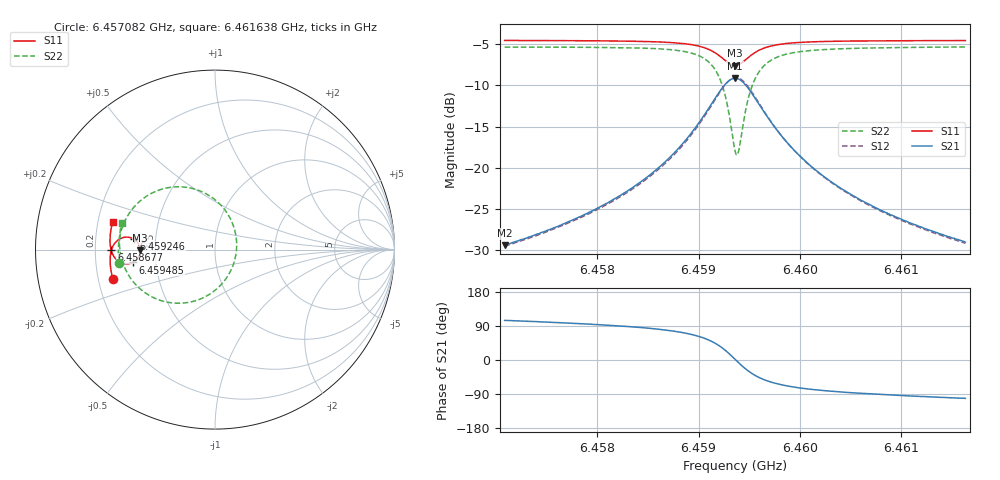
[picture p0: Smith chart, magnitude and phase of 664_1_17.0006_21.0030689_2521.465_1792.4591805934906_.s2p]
#  HZ  S  RI  R  50.00
! Rohde & Schwarz Vector Network Analyzer
! Rohde-Schwarz,ZNB20-2Port,1311601062101988,3.16
! Created: UTC 3/20/2024, 11:21:52 PM
! freq[Hz]  re:S11  im:S11  re:S21  im:S21  re:S12  im:S12  re:S22  im:S22
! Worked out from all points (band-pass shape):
!   401 points, 6.457082 GHz to 6.461638 GHz, reference 50 ohm
!   highest |S21| = -9.13 dB at 6.45936 GHz (marker M1); lowest = -29.4 dB at 6.457082 GHz (marker M2)
!   |S21| within 3 dB of the highest: 6.459134 GHz to 6.45959 GHz (455.8 kHz wide, 0.00706 % of centre)
!   lowest |S11| = -7.6 dB at 6.45936 GHz (marker M3), VSWR 2.43, Z = 20.6 - j0.224 ohm
!   |S11| at or under -10 dB: nowhere
!   |S22| runs from -18.4 to -5.3 dB; largest |S21 - S12| = 0.014
!   S11 on the Smith chart (normalised r, x): 6.457082 GHz: 0.26, -0.13; 6.458677 GHz: 0.27, -0.00; 6.459246 GHz: 0.37, +0.06; 6.459485 GHz: 0.37, -0.07; 6.461638 GHz: 0.26, +0.13
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6.4570818e9  -0.5689 -0.1642  -0.00848 0.0328  -0.00675 0.0329  -0.5342 -0.0759
6.457845e9  -0.582 -0.0971  -0.00489 0.051  -0.00242 0.0503  -0.5382 0.0145
6.4582893e9  -0.5842 -0.052  0.00179 0.072  0.00515 0.0706  -0.528 0.086
6.4586082e9  -0.5799 -0.0135  0.0156 0.0996  0.0197 0.0967  -0.5021 0.1594
6.4586766e9  -0.5775 -0.00414  0.0211 0.1079  0.0252 0.1046  -0.4919 0.1794
6.4588702e9  -0.5645 0.0262  0.0481 0.1388  0.0522 0.1337  -0.441 0.2485
6.4590183e9  -0.5415 0.0522  0.0939 0.1691  0.097 0.1621  -0.3564 0.3123
6.459155e9  -0.4974 0.0696  0.1817 0.1849  0.1822 0.1776  -0.196 0.3501
6.4592461e9  -0.4527 0.0591  0.2719 0.1534  0.2719 0.1475  -0.0288 0.2987
6.4593145e9  -0.4234 0.0268  0.3326 0.081  0.3347 0.0758  0.0878 0.1683
6.45936e9  -0.4163 -0.0045  0.3493 0.0124  0.3531 0.00566  0.1206 0.04
6.4593942e9  -0.4201 -0.0285  0.3435 -0.0407  0.3475 -0.0495  0.1093 -0.0607
6.4594398e9  -0.4359 -0.055  0.3147 -0.1015  0.317 -0.1133  0.0508 -0.176
6.4594853e9  -0.4582 -0.0716  0.2718 -0.1431  0.2712 -0.1565  -0.0358 -0.2523
6.4595309e9  -0.4814 -0.0786  0.2266 -0.1657  0.2228 -0.179  -0.1268 -0.2899
6.4595879e9  -0.5069 -0.0779  0.1762 -0.1751  0.1696 -0.1865  -0.2261 -0.2981
6.4597246e9  -0.5466 -0.0579  0.0962 -0.16  0.0875 -0.1662  -0.3787 -0.2477
6.459884e9  -0.5682 -0.03  0.0507 -0.131  0.0429 -0.1338  -0.4599 -0.1736
6.4601232e9  -0.5808 0.00593  0.0215 -0.0987  0.0156 -0.0992  -0.5078 -0.0897
6.4604764e9  -0.5851 0.048  0.00531 -0.0706  0.0012 -0.0702  -0.529 -0.0075
6.4608864e9  -0.5828 0.0893  -0.002 -0.0525  -0.00489 -0.0515  -0.5322 0.0588
6.4616382e9  -0.5703 0.156  -0.00698 -0.0348  -0.00871 -0.034  -0.5201 0.1484
